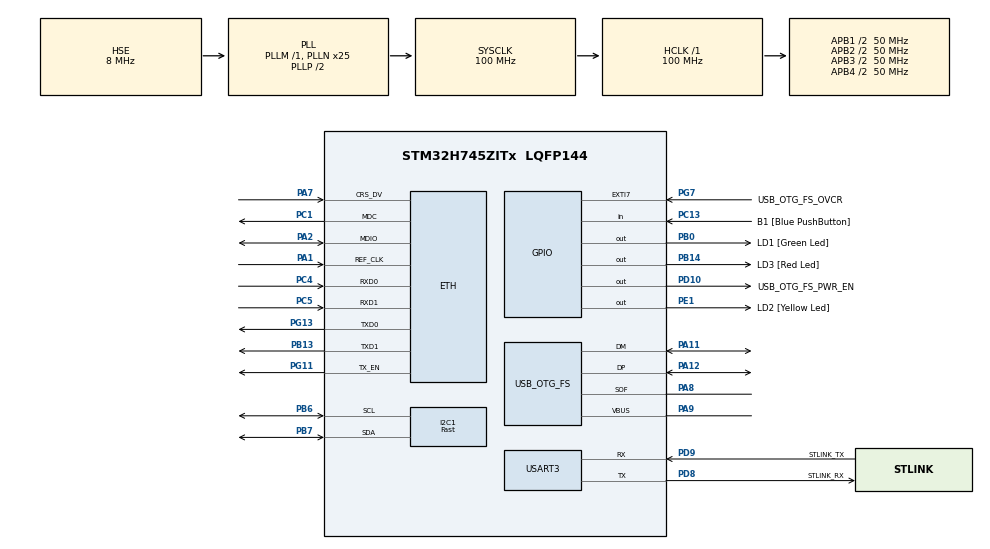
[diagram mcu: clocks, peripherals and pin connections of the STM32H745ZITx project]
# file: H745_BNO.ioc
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CortexM4.IPs=FATFS_M4\:I,FREERTOS_M4\:I,IWDG2\:I,RCC,WWDG2\:I,DMA,BDMA,MDMA,NVIC2\:I,USART3,ETH,DEBUG,USB_DEVICE_M4\:I,USB_HOST_M4\:I,PDM2PCM_M4\:I,PWR,RESMGR_UTILITY,SYS_M4\:I,CORTEX_M4\:I,OPENAMP_M4\:I,VREFBUF,GPIO
CortexM7.IPs=FATFS_M7\:I,FREERTOS_M7\:I,IWDG1\:I,RCC\:I,WWDG1\:I,DMA\:I,BDMA\:I,MDMA\:I,NVIC1\:I,SYS\:I,USART3\:I,USB_OTG_FS\:I,ETH\:I,CORTEX_M7\:I,DEBUG\:I,USB_DEVICE_M7\:I,USB_HOST_M7\:I,PDM2PCM_M7\:I,PWR\:I,RESMGR_UTILITY\:I,OPENAMP_M7\:I,VREFBUF\:I,GPIO\:I,I2C1\:I,TIM1\:I
Dma.I2C1_RX.1.Direction=DMA_PERIPH_TO_MEMORY
Dma.I2C1_RX.1.EventEnable=DISABLE
Dma.I2C1_RX.1.FIFOMode=DMA_FIFOMODE_DISABLE
Dma.I2C1_RX.1.Instance=DMA1_Stream1
Dma.I2C1_RX.1.MemDataAlignment=DMA_MDATAALIGN_BYTE
Dma.I2C1_RX.1.MemInc=DMA_MINC_ENABLE
Dma.I2C1_RX.1.Mode=DMA_NORMAL
Dma.I2C1_RX.1.PeriphDataAlignment=DMA_PDATAALIGN_BYTE
Dma.I2C1_RX.1.PeriphInc=DMA_PINC_DISABLE
Dma.I2C1_RX.1.Polarity=HAL_DMAMUX_REQ_GEN_RISING
Dma.I2C1_RX.1.Priority=DMA_PRIORITY_LOW
Dma.I2C1_RX.1.RequestNumber=1
Dma.I2C1_RX.1.SignalID=NONE
Dma.I2C1_RX.1.SyncEnable=DISABLE
Dma.I2C1_RX.1.SyncPolarity=HAL_DMAMUX_SYNC_NO_EVENT
Dma.I2C1_RX.1.SyncRequestNumber=1
Dma.I2C1_RX.1.SyncSignalID=NONE
Dma.I2C1_TX.2.Direction=DMA_MEMORY_TO_PERIPH
Dma.I2C1_TX.2.EventEnable=DISABLE
Dma.I2C1_TX.2.FIFOMode=DMA_FIFOMODE_DISABLE
Dma.I2C1_TX.2.Instance=DMA1_Stream2
Dma.I2C1_TX.2.MemDataAlignment=DMA_MDATAALIGN_BYTE
Dma.I2C1_TX.2.MemInc=DMA_MINC_ENABLE
Dma.I2C1_TX.2.Mode=DMA_NORMAL
Dma.I2C1_TX.2.PeriphDataAlignment=DMA_PDATAALIGN_BYTE
Dma.I2C1_TX.2.PeriphInc=DMA_PINC_DISABLE
Dma.I2C1_TX.2.Polarity=HAL_DMAMUX_REQ_GEN_RISING
Dma.I2C1_TX.2.Priority=DMA_PRIORITY_LOW
Dma.I2C1_TX.2.RequestNumber=1
Dma.I2C1_TX.2.SignalID=NONE
Dma.I2C1_TX.2.SyncEnable=DISABLE
Dma.I2C1_TX.2.SyncPolarity=HAL_DMAMUX_SYNC_NO_EVENT
Dma.I2C1_TX.2.SyncRequestNumber=1
Dma.I2C1_TX.2.SyncSignalID=NONE
Dma.Request0=USART3_RX
Dma.Request1=I2C1_RX
Dma.Request2=I2C1_TX
Dma.USART3_RX.0.Direction=DMA_PERIPH_TO_MEMORY
Dma.USART3_RX.0.EventEnable=DISABLE
Dma.USART3_RX.0.FIFOMode=DMA_FIFOMODE_DISABLE
Dma.USART3_RX.0.Instance=DMA1_Stream0
Dma.USART3_RX.0.MemDataAlignment=DMA_MDATAALIGN_BYTE
Dma.USART3_RX.0.MemInc=DMA_MINC_ENABLE
Dma.USART3_RX.0.Mode=DMA_CIRCULAR
Dma.USART3_RX.0.PeriphDataAlignment=DMA_PDATAALIGN_BYTE
Dma.USART3_RX.0.PeriphInc=DMA_PINC_DISABLE
Dma.USART3_RX.0.Polarity=HAL_DMAMUX_REQ_GEN_RISING
Dma.USART3_RX.0.Priority=DMA_PRIORITY_LOW
Dma.USART3_RX.0.RequestNumber=1
Dma.USART3_RX.0.SignalID=NONE
Dma.USART3_RX.0.SyncEnable=DISABLE
Dma.USART3_RX.0.SyncPolarity=HAL_DMAMUX_SYNC_NO_EVENT
Dma.USART3_RX.0.SyncRequestNumber=1
Dma.USART3_RX.0.SyncSignalID=NONE
ETH.MediaInterface=HAL_ETH_RMII_MODE
I2C1.I2C_Speed_Mode=I2C_Fast
I2C1.Timing=0x00401959
Mcu.Family=STM32H7
Mcu.Name=STM32H745ZITx
Mcu.Package=LQFP144
NVIC1.DMA1_Stream0_IRQn=true\:0\:0\:false\:false\:true\:false\:true\:true
NVIC1.DMA1_Stream1_IRQn=true\:0\:0\:false\:false\:true\:false\:true\:true
NVIC1.DMA1_Stream2_IRQn=true\:0\:0\:false\:false\:true\:false\:true\:true
NVIC1.PriorityGroup=NVIC_PRIORITYGROUP_4
NVIC1.TIM1_BRK_IRQn=true\:0\:0\:false\:false\:true\:true\:true\:true
NVIC1.TIM1_CC_IRQn=true\:0\:0\:false\:false\:true\:true\:true\:true
NVIC1.TIM1_TRG_COM_IRQn=true\:0\:0\:false\:false\:true\:true\:true\:true
NVIC1.TIM1_UP_IRQn=true\:0\:0\:false\:false\:true\:true\:true\:true
NVIC1.USART3_IRQn=true\:0\:0\:false\:false\:true\:true\:true\:true
NVIC2.PriorityGroup=NVIC_PRIORITYGROUP_4
PA1.Mode=RMII
PA1.PinAttribute=CortexM7
PA1.Signal=ETH_REF_CLK
PA11.Mode=Device_Only
PA11.PinAttribute=CortexM7
PA11.Signal=USB_OTG_FS_DM
PA12.Mode=Device_Only
PA12.PinAttribute=CortexM7
PA12.Signal=USB_OTG_FS_DP
PA2.Mode=RMII
PA2.PinAttribute=CortexM7
PA2.Signal=ETH_MDIO
PA7.Mode=RMII
PA7.PinAttribute=CortexM7
PA7.Signal=ETH_CRS_DV
PA8.Mode=Activate_SOF_FS
PA8.PinAttribute=CortexM7
PA8.Signal=USB_OTG_FS_SOF
PA9.Mode=Activate_VBUS
PA9.PinAttribute=CortexM7
PA9.Signal=USB_OTG_FS_VBUS
PB0.GPIO_Label=LD1 [Green Led]
PB0.PinAttribute=Free
PB0.Signal=GPIO_Output
PB13.Mode=RMII
PB13.PinAttribute=CortexM7
PB13.Signal=ETH_TXD1
PB14.GPIO_Label=LD3 [Red Led]
PB14.PinAttribute=Free
PB14.Signal=GPIO_Output
PB6.Mode=I2C
PB6.PinAttribute=CortexM7
PB6.Signal=I2C1_SCL
PB7.Mode=I2C
PB7.PinAttribute=CortexM7
PB7.Signal=I2C1_SDA
PC1.Mode=RMII
PC1.PinAttribute=CortexM7
PC1.Signal=ETH_MDC
PC13.GPIO_Label=B1 [Blue PushButton]
PC13.PinAttribute=Free
PC13.Signal=GPIO_Input
PC14-OSC32_IN\ (OSC32_IN).Mode=LSE-External-Oscillator
PC14-OSC32_IN\ (OSC32_IN).PinAttribute=CortexM7
PC14-OSC32_IN\ (OSC32_IN).Signal=RCC_OSC32_IN
PC15-OSC32_OUT\ (OSC32_OUT).Mode=LSE-External-Oscillator
PC15-OSC32_OUT\ (OSC32_OUT).PinAttribute=CortexM7
PC15-OSC32_OUT\ (OSC32_OUT).Signal=RCC_OSC32_OUT
PC4.Mode=RMII
PC4.PinAttribute=CortexM7
PC4.Signal=ETH_RXD0
PC5.Mode=RMII
PC5.PinAttribute=CortexM7
PC5.Signal=ETH_RXD1
PD10.GPIO_Label=USB_OTG_FS_PWR_EN
PD10.PinAttribute=Free
PD10.Signal=GPIO_Output
PD8.GPIO_Label=STLINK_RX
PD8.Mode=Asynchronous
PD8.PinAttribute=CortexM7
PD8.Signal=USART3_TX
PD9.GPIO_Label=STLINK_TX
PD9.Mode=Asynchronous
PD9.PinAttribute=CortexM7
PD9.Signal=USART3_RX
PE1.GPIO_Label=LD2 [Yellow Led]
PE1.PinAttribute=Free
PE1.Signal=GPIO_Output
PG11.Mode=RMII
PG11.PinAttribute=CortexM7
PG11.Signal=ETH_TX_EN
PG13.Mode=RMII
PG13.PinAttribute=CortexM7
PG13.Signal=ETH_TXD0
PG7.GPIO_Label=USB_OTG_FS_OVCR
PG7.PinAttribute=Free
PG7.Signal=GPXTI7
PH0-OSC_IN\ (PH0).Mode=HSE-External-Clock-Source
PH0-OSC_IN\ (PH0).PinAttribute=CortexM7
PH0-OSC_IN\ (PH0).Signal=RCC_OSC_IN
PH1-OSC_OUT\ (PH1).PinAttribute=CortexM7
PH1-OSC_OUT\ (PH1).Signal=RCC_OSC_OUT
ProjectManager.HeapSize=M4-0x200,M7-0x200
ProjectManager.StackSize=M4-0x400,M7-0x400
ProjectManager.TargetToolchain=STM32CubeIDE
RCC.ADCFreq_Value=16125000
RCC.APB1Freq_Value=50000000
RCC.APB2Freq_Value=50000000
RCC.APB3Freq_Value=50000000
RCC.APB4Freq_Value=50000000
RCC.CortexFreq_Value=100000000
RCC.D1PPRE=RCC_APB3_DIV2
RCC.D2PPRE1=RCC_APB1_DIV2
RCC.D2PPRE2=RCC_APB2_DIV2
RCC.D3PPRE=RCC_APB4_DIV2
RCC.DIVM1=1
RCC.DIVM3=1
RCC.DIVN1=25
RCC.DIVN3=18
RCC.DIVQ3=3
RCC.HCLKFreq_Value=100000000
RCC.HSE_VALUE=8000000
RCC.PLL2FRACN=0
RCC.PLL3FRACN=6144
RCC.PLLFRACN=0
RCC.SYSCLKFreq_VALUE=100000000
RCC.SYSCLKSource=RCC_SYSCLKSOURCE_PLLCLK
RCC.SupplySource=PWR_DIRECT_SMPS_SUPPLY
RCC.USBCLockSelection=RCC_USBCLKSOURCE_PLL3
RCC.USBFreq_Value=50000000
TIM1.Prescaler=99
USART3.VirtualMode-Asynchronous=VM_ASYNC
USB_OTG_FS.VirtualMode=Device_Only
VP_SYS_M4_VS_Systick.Mode=SysTick
VP_TIM1_VS_ClockSourceINT.Mode=Internal
board=NUCLEO-H745ZI-Q

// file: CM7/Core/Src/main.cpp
/* USER CODE BEGIN Header */
/**
  ******************************************************************************
  * @file           : main.c
  * @brief          : Main program body
  ******************************************************************************
  * @attention
  *
  * Copyright (c) 2022 STMicroelectronics.
  * All rights reserved.
  *
  * This software is licensed under terms that can be found in the LICENSE file
  * in the root directory of this software component.
  * If no LICENSE file comes with this software, it is provided AS-IS.
  *
  ******************************************************************************
  */
/* USER CODE END Header */
#include "main.h"
#include "string.h"

/* USER CODE BEGIN Includes */
#include "bno055_stm32.h"
#include "Xicro_sub_N_pub_ID_3.h"
/* USER CODE END Includes */

/* USER CODE BEGIN PD */

#ifndef HSEM_ID_0
#define HSEM_ID_0 (0U) /* HW semaphore 0*/
#endif
/* USER CODE END PD */

#if defined ( __ICCARM__ ) /*!< IAR Compiler */
#pragma location=0x30000000
ETH_DMADescTypeDef  DMARxDscrTab[ETH_RX_DESC_CNT]; /* Ethernet Rx DMA Descriptors */
#pragma location=0x30000200
ETH_DMADescTypeDef  DMATxDscrTab[ETH_TX_DESC_CNT]; /* Ethernet Tx DMA Descriptors */

#elif defined ( __CC_ARM )  /* MDK ARM Compiler */

__attribute__((at(0x30000000))) ETH_DMADescTypeDef  DMARxDscrTab[ETH_RX_DESC_CNT]; /* Ethernet Rx DMA Descriptors */
__attribute__((at(0x30000200))) ETH_DMADescTypeDef  DMATxDscrTab[ETH_TX_DESC_CNT]; /* Ethernet Tx DMA Descriptors */

#elif defined ( __GNUC__ ) /* GNU Compiler */
ETH_DMADescTypeDef DMARxDscrTab[ETH_RX_DESC_CNT] __attribute__((section(".RxDecripSection"))); /* Ethernet Rx DMA Descriptors */
ETH_DMADescTypeDef DMATxDscrTab[ETH_TX_DESC_CNT] __attribute__((section(".TxDecripSection")));   /* Ethernet Tx DMA Descriptors */

#endif

ETH_TxPacketConfig TxConfig;

ETH_HandleTypeDef heth;

I2C_HandleTypeDef hi2c1;
DMA_HandleTypeDef hdma_i2c1_rx;
DMA_HandleTypeDef hdma_i2c1_tx;

TIM_HandleTypeDef htim1;

UART_HandleTypeDef huart3;
DMA_HandleTypeDef hdma_usart3_rx;

PCD_HandleTypeDef hpcd_USB_OTG_FS;

/* USER CODE BEGIN PV */

Xicro xicro;

// Create Quaternion, Linear Acceleration, Angular Velocity each axis Variable for keep value from BNO055

double qw=0;
double qx=0;
double qy=0;
double qz=0;

double ax=0;
double ay=0;
double az=0;

double gx=0;
double gy=0;
double gz=0;

// Create Variables for Timer

uint64_t _micro = 0;
uint64_t TimeOutputLoop = 0;

/* USER CODE END PV */

void SystemClock_Config(void);
static void MX_GPIO_Init(void);
static void MX_ETH_Init(void);
static void MX_USART3_UART_Init(void);
static void MX_DMA_Init(void);
static void MX_USB_OTG_FS_PCD_Init(void);
static void MX_I2C1_Init(void);
static void MX_TIM1_Init(void);
/* USER CODE BEGIN PFP */

uint64_t Micros();

/* USER CODE END PFP */

int main(void)
{
/* USER CODE BEGIN Boot_Mode_Sequence_0 */
  int32_t timeout;
/* USER CODE END Boot_Mode_Sequence_0 */

/* USER CODE BEGIN Boot_Mode_Sequence_1 */
  /* Wait until CPU2 boots and enters in stop mode or timeout*/
  timeout = 0xFFFF;
  while((__HAL_RCC_GET_FLAG(RCC_FLAG_D2CKRDY) != RESET) && (timeout-- > 0));
  if ( timeout < 0 )
  {
  Error_Handler();
  }
/* USER CODE END Boot_Mode_Sequence_1 */
  /* MCU Configuration--------------------------------------------------------*/

  /* Reset of all peripherals, Initializes the Flash interface and the Systick. */
  HAL_Init();

  /* Configure the system clock */
  SystemClock_Config();
/* USER CODE BEGIN Boot_Mode_Sequence_2 */
/* When system initialization is finished, Cortex-M7 will release Cortex-M4 by means of
HSEM notification */
/*HW semaphore Clock enable*/
__HAL_RCC_HSEM_CLK_ENABLE();
/*Take HSEM */
HAL_HSEM_FastTake(HSEM_ID_0);
/*Release HSEM in order to notify the CPU2(CM4)*/
HAL_HSEM_Release(HSEM_ID_0,0);
/* wait until CPU2 wakes up from stop mode */
timeout = 0xFFFF;
while((__HAL_RCC_GET_FLAG(RCC_FLAG_D2CKRDY) == RESET) && (timeout-- > 0));
if ( timeout < 0 )
{
Error_Handler();
}
/* USER CODE END Boot_Mode_Sequence_2 */

  /* Initialize all configured peripherals */
  MX_GPIO_Init();
  MX_ETH_Init();
  MX_USART3_UART_Init();
  MX_DMA_Init();
  MX_USB_OTG_FS_PCD_Init();
  MX_I2C1_Init();
  MX_TIM1_Init();
  /* USER CODE BEGIN 2 */

	HAL_TIM_Base_Start_IT(&htim1);
	bno055_assignI2C(&hi2c1);
	bno055_setup();
	bno055_setOperationModeNDOF();
	xicro.begin(&huart3);

  /* USER CODE END 2 */

  /* Infinite loop */
  /* USER CODE BEGIN WHILE */
  while (1)
  {
	  xicro.Spin_node();		// Spin Xicro Node

	  if (Micros()-TimeOutputLoop>10000){				// Create Control Loop
			  TimeOutputLoop = Micros();

			  bno055_vector_t v = bno055_getVectorQuaternion();		// Quaternion
				  qw = v.w;
				  qx = v.x;
				  qy = v.y;
				  qz = v.z;

			  v = bno055_getVectorLinearAccel();					// Linear Acceleration
				  ax = v.x;
				  ay = v.y;
				  az = v.z;

			  v = bno055_getVectorGyroscope();						// Angular Velocity
				  gx = v.x;
				  gy = v.y;
				  gz = v.z;

			  // Publish IMU Value to ROS2
			  xicro.publish_fake_Imu_stm32((int32_t)Micros()/1000000.00 ,(uint32_t)Micros()/1000000.00  ,"from_h745" ,qx ,qy ,qz ,qw ,0.0,gx ,gy ,gz ,0.0 ,ax ,ay ,az ,0.0);

		  }
    /* USER CODE END WHILE */

  }
}

void SystemClock_Config(void)
{
  RCC_OscInitTypeDef RCC_OscInitStruct = {0};
  RCC_ClkInitTypeDef RCC_ClkInitStruct = {0};

  /** Supply configuration update enable
  */
  HAL_PWREx_ConfigSupply(PWR_DIRECT_SMPS_SUPPLY);

  /** Configure the main internal regulator output voltage
  */
  __HAL_PWR_VOLTAGESCALING_CONFIG(PWR_REGULATOR_VOLTAGE_SCALE3);

  while(!__HAL_PWR_GET_FLAG(PWR_FLAG_VOSRDY)) {}

  /** Macro to configure the PLL clock source
  */
  __HAL_RCC_PLL_PLLSOURCE_CONFIG(RCC_PLLSOURCE_HSE);

  /** Initializes the RCC Oscillators according to the specified parameters
  * in the RCC_OscInitTypeDef structure.
  */
  RCC_OscInitStruct.OscillatorType = RCC_OSCILLATORTYPE_HSE;
  RCC_OscInitStruct.HSEState = RCC_HSE_BYPASS;
  RCC_OscInitStruct.PLL.PLLState = RCC_PLL_ON;
  RCC_OscInitStruct.PLL.PLLSource = RCC_PLLSOURCE_HSE;
  RCC_OscInitStruct.PLL.PLLM = 1;
  RCC_OscInitStruct.PLL.PLLN = 25;
  RCC_OscInitStruct.PLL.PLLP = 2;
  RCC_OscInitStruct.PLL.PLLQ = 2;
  RCC_OscInitStruct.PLL.PLLR = 2;
  RCC_OscInitStruct.PLL.PLLRGE = RCC_PLL1VCIRANGE_3;
  RCC_OscInitStruct.PLL.PLLVCOSEL = RCC_PLL1VCOWIDE;
  RCC_OscInitStruct.PLL.PLLFRACN = 0;
  if (HAL_RCC_OscConfig(&RCC_OscInitStruct) != HAL_OK)
  {
    Error_Handler();
  }

  /** Initializes the CPU, AHB and APB buses clocks
  */
  RCC_ClkInitStruct.ClockType = RCC_CLOCKTYPE_HCLK|RCC_CLOCKTYPE_SYSCLK
                              |RCC_CLOCKTYPE_PCLK1|RCC_CLOCKTYPE_PCLK2
                              |RCC_CLOCKTYPE_D3PCLK1|RCC_CLOCKTYPE_D1PCLK1;
  RCC_ClkInitStruct.SYSCLKSource = RCC_SYSCLKSOURCE_PLLCLK;
  RCC_ClkInitStruct.SYSCLKDivider = RCC_SYSCLK_DIV1;
  RCC_ClkInitStruct.AHBCLKDivider = RCC_HCLK_DIV1;
  RCC_ClkInitStruct.APB3CLKDivider = RCC_APB3_DIV2;
  RCC_ClkInitStruct.APB1CLKDivider = RCC_APB1_DIV2;
  RCC_ClkInitStruct.APB2CLKDivider = RCC_APB2_DIV2;
  RCC_ClkInitStruct.APB4CLKDivider = RCC_APB4_DIV2;

  if (HAL_RCC_ClockConfig(&RCC_ClkInitStruct, FLASH_LATENCY_2) != HAL_OK)
  {
    Error_Handler();
  }
}

static void MX_ETH_Init(void)
{

   static uint8_t MACAddr[6];

  heth.Instance = ETH;
  MACAddr[0] = 0x00;
  MACAddr[1] = 0x80;
  MACAddr[2] = 0xE1;
  MACAddr[3] = 0x00;
  MACAddr[4] = 0x00;
  MACAddr[5] = 0x00;
  heth.Init.MACAddr = &MACAddr[0];
  heth.Init.MediaInterface = HAL_ETH_RMII_MODE;
  heth.Init.TxDesc = DMATxDscrTab;
  heth.Init.RxDesc = DMARxDscrTab;
  heth.Init.RxBuffLen = 1524;

  if (HAL_ETH_Init(&heth) != HAL_OK)
  {
    Error_Handler();
  }

  memset(&TxConfig, 0 , sizeof(ETH_TxPacketConfig));
  TxConfig.Attributes = ETH_TX_PACKETS_FEATURES_CSUM | ETH_TX_PACKETS_FEATURES_CRCPAD;
  TxConfig.ChecksumCtrl = ETH_CHECKSUM_IPHDR_PAYLOAD_INSERT_PHDR_CALC;
  TxConfig.CRCPadCtrl = ETH_CRC_PAD_INSERT;

}

static void MX_I2C1_Init(void)
{

  hi2c1.Instance = I2C1;
  hi2c1.Init.Timing = 0x00401959;
  hi2c1.Init.OwnAddress1 = 0;
  hi2c1.Init.AddressingMode = I2C_ADDRESSINGMODE_7BIT;
  hi2c1.Init.DualAddressMode = I2C_DUALADDRESS_DISABLE;
  hi2c1.Init.OwnAddress2 = 0;
  hi2c1.Init.OwnAddress2Masks = I2C_OA2_NOMASK;
  hi2c1.Init.GeneralCallMode = I2C_GENERALCALL_DISABLE;
  hi2c1.Init.NoStretchMode = I2C_NOSTRETCH_DISABLE;
  if (HAL_I2C_Init(&hi2c1) != HAL_OK)
  {
    Error_Handler();
  }

  /** Configure Analogue filter
  */
  if (HAL_I2CEx_ConfigAnalogFilter(&hi2c1, I2C_ANALOGFILTER_ENABLE) != HAL_OK)
  {
    Error_Handler();
  }

  /** Configure Digital filter
  */
  if (HAL_I2CEx_ConfigDigitalFilter(&hi2c1, 0) != HAL_OK)
  {
    Error_Handler();
  }

}

static void MX_TIM1_Init(void)
{

  TIM_ClockConfigTypeDef sClockSourceConfig = {0};
  TIM_MasterConfigTypeDef sMasterConfig = {0};

  htim1.Instance = TIM1;
  htim1.Init.Prescaler = 99;
  htim1.Init.CounterMode = TIM_COUNTERMODE_UP;
  htim1.Init.Period = 65535;
  htim1.Init.ClockDivision = TIM_CLOCKDIVISION_DIV1;
  htim1.Init.RepetitionCounter = 0;
  htim1.Init.AutoReloadPreload = TIM_AUTORELOAD_PRELOAD_DISABLE;
  if (HAL_TIM_Base_Init(&htim1) != HAL_OK)
  {
    Error_Handler();
  }
  sClockSourceConfig.ClockSource = TIM_CLOCKSOURCE_INTERNAL;
  if (HAL_TIM_ConfigClockSource(&htim1, &sClockSourceConfig) != HAL_OK)
  {
    Error_Handler();
  }
  sMasterConfig.MasterOutputTrigger = TIM_TRGO_RESET;
  sMasterConfig.MasterOutputTrigger2 = TIM_TRGO2_RESET;
  sMasterConfig.MasterSlaveMode = TIM_MASTERSLAVEMODE_DISABLE;
  if (HAL_TIMEx_MasterConfigSynchronization(&htim1, &sMasterConfig) != HAL_OK)
  {
    Error_Handler();
  }

}

static void MX_USART3_UART_Init(void)
{

  huart3.Instance = USART3;
  huart3.Init.BaudRate = 115200;
  huart3.Init.WordLength = UART_WORDLENGTH_8B;
  huart3.Init.StopBits = UART_STOPBITS_1;
  huart3.Init.Parity = UART_PARITY_NONE;
  huart3.Init.Mode = UART_MODE_TX_RX;
  huart3.Init.HwFlowCtl = UART_HWCONTROL_NONE;
  huart3.Init.OverSampling = UART_OVERSAMPLING_16;
  huart3.Init.OneBitSampling = UART_ONE_BIT_SAMPLE_DISABLE;
  huart3.Init.ClockPrescaler = UART_PRESCALER_DIV1;
  huart3.AdvancedInit.AdvFeatureInit = UART_ADVFEATURE_NO_INIT;
  if (HAL_UART_Init(&huart3) != HAL_OK)
  {
    Error_Handler();
  }
  if (HAL_UARTEx_SetTxFifoThreshold(&huart3, UART_TXFIFO_THRESHOLD_1_8) != HAL_OK)
  {
    Error_Handler();
  }
  if (HAL_UARTEx_SetRxFifoThreshold(&huart3, UART_RXFIFO_THRESHOLD_1_8) != HAL_OK)
  {
    Error_Handler();
  }
  if (HAL_UARTEx_DisableFifoMode(&huart3) != HAL_OK)
  {
    Error_Handler();
  }

}

static void MX_USB_OTG_FS_PCD_Init(void)
{

  hpcd_USB_OTG_FS.Instance = USB_OTG_FS;
  hpcd_USB_OTG_FS.Init.dev_endpoints = 9;
  hpcd_USB_OTG_FS.Init.speed = PCD_SPEED_FULL;
  hpcd_USB_OTG_FS.Init.dma_enable = DISABLE;
  hpcd_USB_OTG_FS.Init.phy_itface = PCD_PHY_EMBEDDED;
  hpcd_USB_OTG_FS.Init.Sof_enable = DISABLE;
  hpcd_USB_OTG_FS.Init.low_power_enable = DISABLE;
  hpcd_USB_OTG_FS.Init.lpm_enable = DISABLE;
  hpcd_USB_OTG_FS.Init.battery_charging_enable = ENABLE;
  hpcd_USB_OTG_FS.Init.vbus_sensing_enable = ENABLE;
  hpcd_USB_OTG_FS.Init.use_dedicated_ep1 = DISABLE;
  if (HAL_PCD_Init(&hpcd_USB_OTG_FS) != HAL_OK)
  {
    Error_Handler();
  }

}

static void MX_DMA_Init(void)
{

  /* DMA controller clock enable */
  __HAL_RCC_DMA1_CLK_ENABLE();

  /* DMA interrupt init */
  /* DMA1_Stream0_IRQn interrupt configuration */
  HAL_NVIC_SetPriority(DMA1_Stream0_IRQn, 0, 0);
  HAL_NVIC_EnableIRQ(DMA1_Stream0_IRQn);
  /* DMA1_Stream1_IRQn interrupt configuration */
  HAL_NVIC_SetPriority(DMA1_Stream1_IRQn, 0, 0);
  HAL_NVIC_EnableIRQ(DMA1_Stream1_IRQn);
  /* DMA1_Stream2_IRQn interrupt configuration */
  HAL_NVIC_SetPriority(DMA1_Stream2_IRQn, 0, 0);
  HAL_NVIC_EnableIRQ(DMA1_Stream2_IRQn);

}

static void MX_GPIO_Init(void)
{

  /* GPIO Ports Clock Enable */
  __HAL_RCC_GPIOC_CLK_ENABLE();
  __HAL_RCC_GPIOH_CLK_ENABLE();
  __HAL_RCC_GPIOA_CLK_ENABLE();
  __HAL_RCC_GPIOB_CLK_ENABLE();
  __HAL_RCC_GPIOD_CLK_ENABLE();
  __HAL_RCC_GPIOG_CLK_ENABLE();

}

/* USER CODE BEGIN 4 */

uint64_t Micros(){														// Timer Function
	return _micro + htim1.Instance->CNT;
}

void HAL_TIM_PeriodElapsedCallback(TIM_HandleTypeDef *htim)				// Timer Interrupt
{
	if (htim == &htim1)
	{
		_micro += 65535;
	}
}

/* USER CODE END 4 */

void Error_Handler(void)
{
  __disable_irq();
  while (1)
  {
  }
}
